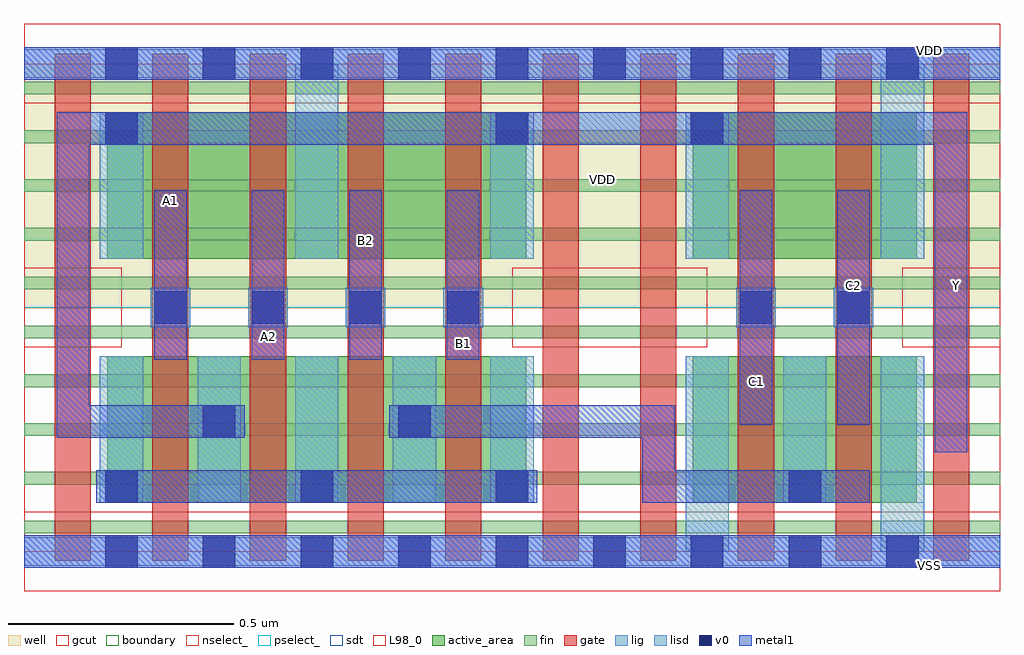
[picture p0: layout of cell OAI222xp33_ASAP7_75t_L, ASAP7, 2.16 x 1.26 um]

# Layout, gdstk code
import gdstk
lib = gdstk.Library(unit=1e-6, precision=2.5e-10)
def R(c, l, rs):  # rectangles x0, y0, x1, y1
    for r in rs: c.add(gdstk.rectangle(r[:2], r[2:], *l))
def A(c, l, x, y, w, h, nx, ny, dx, dy):  # array of equal rectangles
    R(c, l, [(x+i*dx, y+j*dy, x+i*dx+w, y+j*dy+h) for i in range(nx) for j in range(ny)])
def P(c, l, *ps):  # polygons
    for p in ps: c.add(gdstk.Polygon(p, *l))
well = (1, 0)
fin = (2, 0)
gate = (7, 0)
gcut = (10, 0)
active_area = (11, 0)
nselect_ = (12, 0)
pselect_ = (13, 0)
lig = (16, 0)
lisd = (17, 0)
v0 = (18, 0)
metal1 = (19, 0)
sdt = (88, 0)
L98_0 = (98, 0)
boundary = (100, 0)

oai222xp33_asap7_75t_l = lib.new_cell('OAI222xp33_ASAP7_75t_L')
R(oai222xp33_asap7_75t_l, well, [(0,0.54,2.16,1.08)])
A(oai222xp33_asap7_75t_l, fin, 0, 0.04, 2.16, 0.028, 1, 10, 0, 0.108)
A(oai222xp33_asap7_75t_l, gate, 0.068, -0.02, 0.08, 1.122, 10, 1, 0.216, 0)
R(oai222xp33_asap7_75t_l, gcut, [(0,-0.088,2.16,0.088), (0,0.452,0.216,0.628), (1.08,0.452,1.512,0.628), (1.944,0.452,2.16,0.628), (0,0.992,2.16,1.168)])
R(oai222xp33_asap7_75t_l, active_area, [(0.184,0.108,1.112,0.432), (1.48,0.108,1.976,0.432), (0.184,0.648,1.112,0.972), (1.48,0.648,1.976,0.972)])
R(oai222xp33_asap7_75t_l, nselect_, [(0,0,2.16,0.54)])
R(oai222xp33_asap7_75t_l, pselect_, [(0,0.54,2.16,1.08)])
A(oai222xp33_asap7_75t_l, lig, 0.28, 0.496, 0.088, 0.088, 4, 1, 0.216, 0)
R(oai222xp33_asap7_75t_l, lig, [(0,-0.032,2.16,0.032), (1.576,0.496,1.664,0.584), (1.792,0.496,1.88,0.584), (0,1.048,2.16,1.112)])
A(oai222xp33_asap7_75t_l, lisd, 0.168, 0.108, 0.096, 0.324, 5, 1, 0.216, 0)
R(oai222xp33_asap7_75t_l, lisd, [(1.464,0,1.56,0.432), (1.896,0,1.992,0.432), (1.68,0.108,1.776,0.432), (0.168,0.648,0.264,0.972), (0.6,0.648,0.696,1.08), (1.032,0.648,1.128,0.972), (1.464,0.648,1.56,0.972), (1.896,0.648,1.992,1.08)])
A(oai222xp33_asap7_75t_l, v0, 0.18, -0.036, 0.072, 0.072, 9, 2, 0.216, 1.08)
A(oai222xp33_asap7_75t_l, v0, 0.18, 0.108, 0.072, 0.072, 3, 1, 0.432, 0)
A(oai222xp33_asap7_75t_l, v0, 0.288, 0.504, 0.072, 0.072, 4, 1, 0.216, 0)
R(oai222xp33_asap7_75t_l, v0, [(1.692,0.108,1.764,0.18), (0.396,0.252,0.468,0.324), (0.828,0.252,0.9,0.324), (1.584,0.504,1.656,0.576), (1.8,0.504,1.872,0.576), (0.18,0.9,0.252,0.972), (1.044,0.9,1.116,0.972), (1.476,0.9,1.548,0.972)])
A(oai222xp33_asap7_75t_l, metal1, 0.288, 0.424, 0.072, 0.376, 4, 1, 0.216, 0)
R(oai222xp33_asap7_75t_l, metal1, [(0,-0.036,2.16,0.036), (0.16,0.108,1.136,0.18), (1.584,0.28,1.656,0.8), (1.8,0.28,1.872,0.8), (0,1.044,2.16,1.116)])
P(oai222xp33_asap7_75t_l, metal1, [(1.872,0.18),(1.44,0.18),(1.44,0.324),(0.808,0.324),(0.808,0.252),(1.368,0.252),(1.368,0.108),(1.872,0.108)],
  [(2.088,0.972),(0.072,0.972),(0.072,0.252),(0.488,0.252),(0.488,0.324),(0.144,0.324),(0.144,0.9),(2.016,0.9),(2.016,0.22),(2.088,0.22)])
A(oai222xp33_asap7_75t_l, sdt, 0.168, 0.108, 0.096, 0.324, 5, 1, 0.216, 0)
A(oai222xp33_asap7_75t_l, sdt, 1.464, 0.108, 0.096, 0.324, 3, 1, 0.216, 0)
A(oai222xp33_asap7_75t_l, sdt, 0.168, 0.648, 0.096, 0.324, 5, 1, 0.432, 0)
R(oai222xp33_asap7_75t_l, L98_0, [(0,0,2.16,1.08)])
R(oai222xp33_asap7_75t_l, boundary, [(0,0,2.16,1.08)])
oai222xp33_asap7_75t_l.add(gdstk.Label('VDD', (1.28,0.824), layer=1, texttype=251))
oai222xp33_asap7_75t_l.add(gdstk.Label('VSS', (2.004,-0.032), layer=19, texttype=251))
oai222xp33_asap7_75t_l.add(gdstk.Label('B2', (0.756,0.688), layer=19, texttype=251))
oai222xp33_asap7_75t_l.add(gdstk.Label('C2', (1.836,0.588), layer=19, texttype=251))
oai222xp33_asap7_75t_l.add(gdstk.Label('A1', (0.324,0.776), layer=19, texttype=251))
oai222xp33_asap7_75t_l.add(gdstk.Label('B1', (0.972,0.46), layer=19, texttype=251))
oai222xp33_asap7_75t_l.add(gdstk.Label('C1', (1.62,0.376), layer=19, texttype=251))
oai222xp33_asap7_75t_l.add(gdstk.Label('VDD', (2.004,1.108), layer=19, texttype=251))
oai222xp33_asap7_75t_l.add(gdstk.Label('A2', (0.54,0.476), layer=19, texttype=251))
oai222xp33_asap7_75t_l.add(gdstk.Label('C2', (1.836,0.588), layer=19, texttype=251))
oai222xp33_asap7_75t_l.add(gdstk.Label('C1', (1.62,0.376), layer=19, texttype=251))
oai222xp33_asap7_75t_l.add(gdstk.Label('B1', (0.972,0.46), layer=19, texttype=251))
oai222xp33_asap7_75t_l.add(gdstk.Label('B2', (0.756,0.688), layer=19, texttype=251))
oai222xp33_asap7_75t_l.add(gdstk.Label('Y', (2.064,0.588), layer=19, texttype=251))
oai222xp33_asap7_75t_l.add(gdstk.Label('A2', (0.54,0.476), layer=19, texttype=251))
oai222xp33_asap7_75t_l.add(gdstk.Label('A1', (0.324,0.776), layer=19, texttype=251))
oai222xp33_asap7_75t_l.add(gdstk.Label('VSS', (1.416,-0.272), layer=3, texttype=251))

lib.write_gds('OAI222xp33_ASAP7_75t_L.gds')
